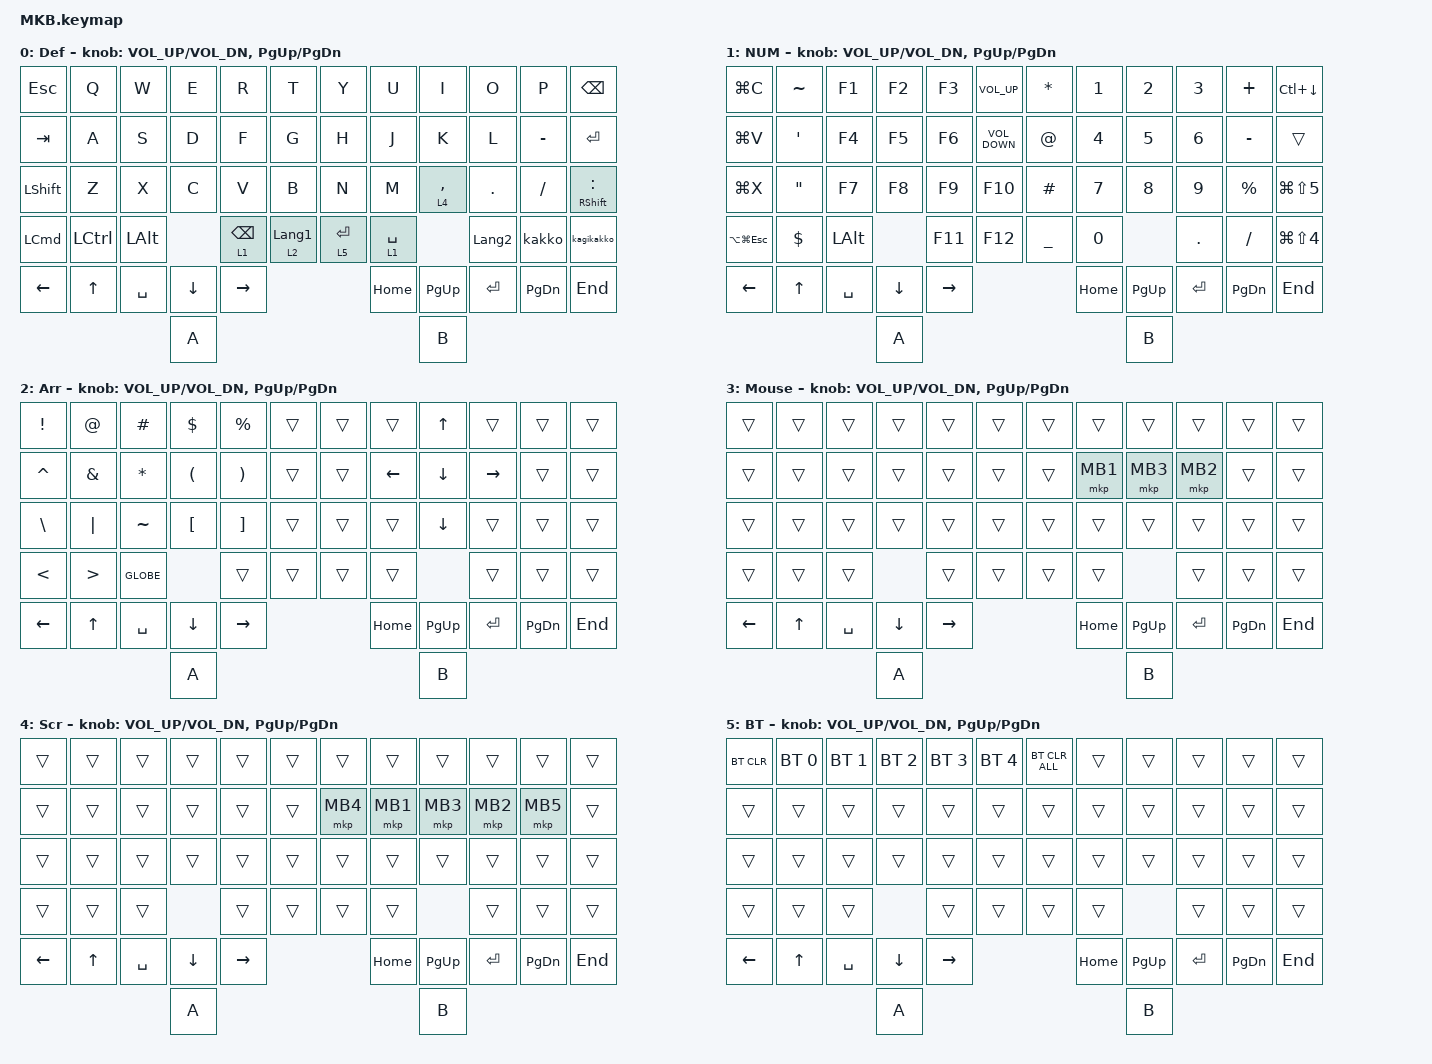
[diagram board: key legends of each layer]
// #include <layout_shift.dtsi>

#include <layout_shift_kp_override.dtsi>
#include <behaviors.dtsi>
#include <dt-bindings/zmk/bt.h>
#include <dt-bindings/zmk/keys.h>
#include <dt-bindings/zmk/pointing.h>

#define DEF 0
#define FUNC 1
#define NUM 2
#define MOUSE 3
#define SCROLL 4
#define BT 5

&mt {
    flavor = "balanced";
    tapping-term-ms = <280>;
    quick-tap-ms = <175>;
    require-prior-idle-ms = <150>;
};

/ {
    macros {
        kakko: kakko {
            compatible = "zmk,behavior-macro";
            #binding-cells = <0>;
            bindings = <&kp LANGUAGE_1 &kp LEFT_PARENTHESIS &kp RIGHT_PARENTHESIS &kp LEFT_ARROW>;
            label = "KAKKO";
        };

        kagikakko: kagikakko {
            compatible = "zmk,behavior-macro";
            #binding-cells = <0>;
            bindings = <&kp LANG1 &kp LEFT_BRACE &kp RIGHT_BRACE &kp LEFT>;
            label = "KAGIKAKKO";
        };
    };

    combos {
        compatible = "zmk,combos";

        lclk {
            bindings = <&mkp LCLK>;
            key-positions = <19 20>;
        };

        rclk {
            bindings = <&mkp RCLK>;
            key-positions = <20 21>;
        };

        mclk {
            bindings = <&mkp MCLK>;
            key-positions = <19 21>;
        };

        mb4 {
            bindings = <&mkp MB4>;
            key-positions = <18 19>;
        };

        mb5 {
            bindings = <&mkp MB5>;
            key-positions = <22 21>;
        };
    };

    keymap {
        compatible = "zmk,keymap";

        default_layer {
            label = "Def";
            bindings = <
&kp ESCAPE        &kp Q             &kp W      &kp E     &kp R            &kp T                 &kp Y        &kp U        &kp I        &kp O           &kp P      &kp BACKSPACE
&kp TAB           &kp A             &kp S      &kp D     &kp F            &kp G                 &kp H        &kp J        &kp K        &kp L           &kp MINUS  &kp ENTER
&kp LSHFT         &kp Z             &kp X      &kp C     &kp V            &kp B                 &kp N        &kp M        &lt 4 COMMA  &kp DOT         &kp SLASH  &mt RIGHT_SHIFT COLON
&kp LEFT_COMMAND  &kp LEFT_CONTROL  &kp LALT             &lt 1 BACKSPACE  &lt 2 LANGUAGE_1      &lt 5 ENTER  &lt 1 SPACE               &kp LANGUAGE_2  &kakko     &kagikakko
&kp LEFT          &kp UP            &kp SPACE  &kp DOWN  &kp RIGHT                                           &kp HOME     &kp PG_UP    &kp ENTER       &kp PG_DN  &kp END
                                               &kp A                                                                      &kp B
            >;

            sensor-bindings = <&inc_dec_kp C_VOL_UP C_VOL_DN &inc_dec_kp PG_UP PG_DN>;
        };

        function_num1 {
            label = "NUM";
            bindings = <
&kp LG(C)           &kp TILDE          &kp F1     &kp F2    &kp F3     &kp C_VOLUME_UP        &kp ASTRK  &kp NUMBER_1  &kp NUMBER_2  &kp NUMBER_3  &kp PLUS     &kp LC(DOWN)
&kp LG(V)           &kp APOS           &kp F4     &kp F5    &kp F6     &kp C_VOLUME_DOWN      &kp AT     &kp NUMBER_4  &kp NUMBER_5  &kp NUMBER_6  &kp MINUS    &trans
&kp LG(X)           &kp DOUBLE_QUOTES  &kp F7     &kp F8    &kp F9     &kp F10                &kp HASH   &kp NUMBER_7  &kp NUMBER_8  &kp NUMBER_9  &kp PERCENT  &kp LG(LS(N5))
&kp LA(LG(ESCAPE))  &kp DOLLAR         &kp LALT             &kp F11    &kp F12                &kp UNDER  &kp NUMBER_0                &kp PERIOD    &kp SLASH    &kp LG(LS(NUMBER_4))
&kp LEFT            &kp UP             &kp SPACE  &kp DOWN  &kp RIGHT                                    &kp HOME      &kp PG_UP     &kp ENTER     &kp PG_DN    &kp END
                                                  &kp A                                                                &kp B
            >;

            sensor-bindings = <&inc_dec_kp C_VOL_UP C_VOL_DN &inc_dec_kp PG_UP PG_DN>;
        };

        arrow_2 {
            label = "Arr";
            bindings = <
&kp EXCL       &kp AT            &kp HASH   &kp DOLLAR            &kp PERCENT            &trans      &trans  &trans          &kp UP_ARROW    &trans           &trans     &trans
&kp CARET      &kp AMPS          &kp ASTRK  &kp LEFT_PARENTHESIS  &kp RIGHT_PARENTHESIS  &trans      &trans  &kp LEFT_ARROW  &kp DOWN_ARROW  &kp RIGHT_ARROW  &trans     &trans
&kp BACKSLASH  &kp PIPE          &kp TILDE  &kp LEFT_BRACKET      &kp RIGHT_BRACKET      &trans      &trans  &trans          &kp DOWN_ARROW  &trans           &trans     &trans
&kp LESS_THAN  &kp GREATER_THAN  &kp GLOBE                        &trans                 &trans      &trans  &trans                          &trans           &trans     &trans
&kp LEFT       &kp UP            &kp SPACE  &kp DOWN              &kp RIGHT                                  &kp HOME        &kp PG_UP       &kp ENTER        &kp PG_DN  &kp END
                                            &kp A                                                                            &kp B
            >;

            sensor-bindings = <&inc_dec_kp C_VOL_UP C_VOL_DN &inc_dec_kp PG_UP PG_DN>;
        };

        mouse_layer3 {
            label = "Mouse";
            bindings = <
&trans    &trans  &trans     &trans    &trans     &trans      &trans  &trans    &trans     &trans     &trans     &trans
&trans    &trans  &trans     &trans    &trans     &trans      &trans  &mkp MB1  &mkp MB3   &mkp MB2   &trans     &trans
&trans    &trans  &trans     &trans    &trans     &trans      &trans  &trans    &trans     &trans     &trans     &trans
&trans    &trans  &trans               &trans     &trans      &trans  &trans               &trans     &trans     &trans
&kp LEFT  &kp UP  &kp SPACE  &kp DOWN  &kp RIGHT                      &kp HOME  &kp PG_UP  &kp ENTER  &kp PG_DN  &kp END
                             &kp A                                              &kp B
            >;

            sensor-bindings = <&inc_dec_kp C_VOL_UP C_VOL_DN &inc_dec_kp PG_UP PG_DN>;
        };

        scroll4 {
            label = "Scr";
            bindings = <
&trans    &trans  &trans     &trans    &trans     &trans      &trans    &trans    &trans     &trans     &trans     &trans
&trans    &trans  &trans     &trans    &trans     &trans      &mkp MB4  &mkp MB1  &mkp MB3   &mkp MB2   &mkp MB5   &trans
&trans    &trans  &trans     &trans    &trans     &trans      &trans    &trans    &trans     &trans     &trans     &trans
&trans    &trans  &trans               &trans     &trans      &trans    &trans               &trans     &trans     &trans
&kp LEFT  &kp UP  &kp SPACE  &kp DOWN  &kp RIGHT                        &kp HOME  &kp PG_UP  &kp ENTER  &kp PG_DN  &kp END
                             &kp A                                                &kp B
            >;

            sensor-bindings = <&inc_dec_kp C_VOL_UP C_VOL_DN &inc_dec_kp PG_UP PG_DN>;
        };

        bt_layer5 {
            label = "BT";
            bindings = <
&bt BT_CLR  &bt BT_SEL 0  &bt BT_SEL 1  &bt BT_SEL 2  &bt BT_SEL 3  &bt BT_SEL 4      &bt BT_CLR_ALL  &trans    &trans     &trans     &trans     &trans
&trans      &trans        &trans        &trans        &trans        &trans            &trans          &trans    &trans     &trans     &trans     &trans
&trans      &trans        &trans        &trans        &trans        &trans            &trans          &trans    &trans     &trans     &trans     &trans
&trans      &trans        &trans                      &trans        &trans            &trans          &trans               &trans     &trans     &trans
&kp LEFT    &kp UP        &kp SPACE     &kp DOWN      &kp RIGHT                                       &kp HOME  &kp PG_UP  &kp ENTER  &kp PG_DN  &kp END
                                        &kp A                                                                   &kp B
            >;

            sensor-bindings = <&inc_dec_kp C_VOL_UP C_VOL_DN &inc_dec_kp PG_UP PG_DN>;
        };
    };
};
